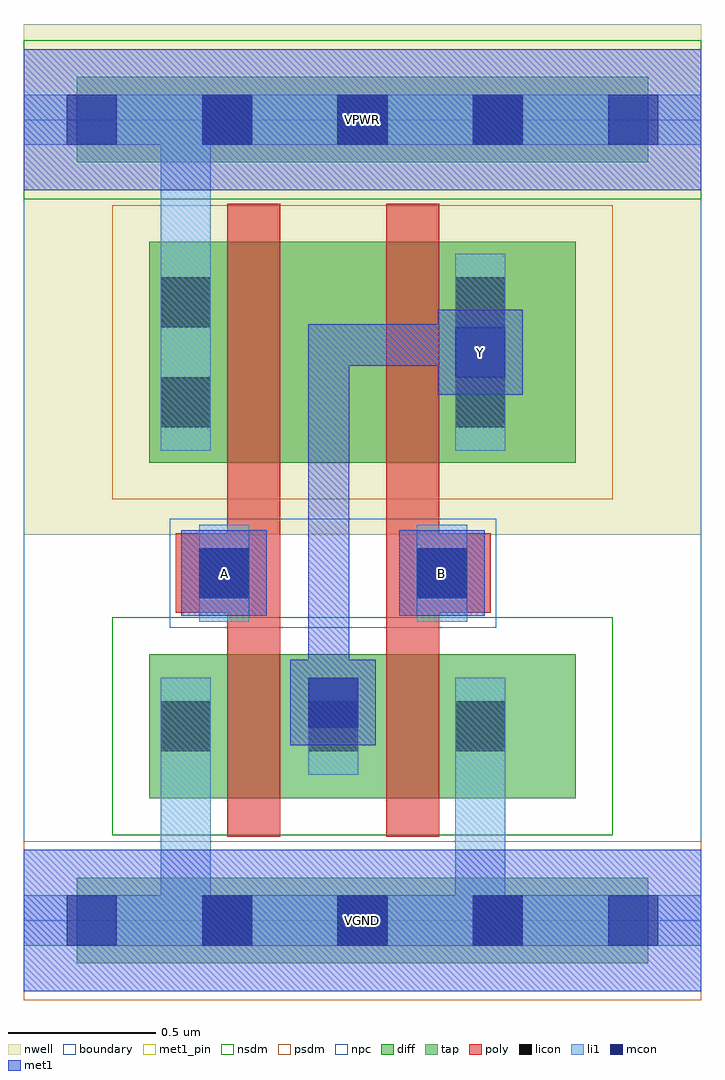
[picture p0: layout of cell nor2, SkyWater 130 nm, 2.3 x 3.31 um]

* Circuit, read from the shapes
.subckt nor2 A B VGND VPWR Y
XM1 Y A VGND VGND sky130_fd_pr__nfet_01v8 w=0.49 l=0.18
XM2 VGND B Y VGND sky130_fd_pr__nfet_01v8 w=0.49 l=0.18
XM3 n1 A VPWR VPWR sky130_fd_pr__pfet_01v8 w=0.75 l=0.18
XM4 Y B n1 VPWR sky130_fd_pr__pfet_01v8 w=0.75 l=0.18
.ends

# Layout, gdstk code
import gdstk
lib = gdstk.Library(unit=1e-6, precision=1e-09)
def R(c, l, rs):  # rectangles x0, y0, x1, y1
    for r in rs: c.add(gdstk.rectangle(r[:2], r[2:], *l))
def A(c, l, x, y, w, h, nx, ny, dx, dy):  # array of equal rectangles
    R(c, l, [(x+i*dx, y+j*dy, x+i*dx+w, y+j*dy+h) for i in range(nx) for j in range(ny)])
nwell = (64, 20)
diff = (65, 20)
tap = (65, 44)
poly = (66, 20)
licon = (66, 44)
li1 = (67, 20)
mcon = (67, 44)
met1_pin = (68, 16)
met1 = (68, 20)
nsdm = (93, 44)
psdm = (94, 20)
npc = (95, 20)
boundary = (235, 4)

nor2 = lib.new_cell('nor2')
R(nor2, nwell, [(0,1.31,2.3,3.045)])
R(nor2, diff, [(0.425,0.415,1.875,0.905), (0.425,1.555,1.875,2.305)])
R(nor2, tap, [(0.18,-0.145,2.12,0.145), (0.18,2.575,2.12,2.865)])
R(nor2, poly, [(0.69,0.285,0.87,2.435), (1.23,0.285,1.41,2.435), (0.515,1.045,0.845,1.315), (1.255,1.045,1.585,1.315)])
A(nor2, licon, 0.605, -0.085, 0.17, 0.17, 3, 2, 0.46, 2.72)
A(nor2, licon, 0.465, 0.575, 0.17, 0.17, 3, 1, 0.5, 0)
R(nor2, licon, [(0.595,1.095,0.765,1.265), (1.335,1.095,1.505,1.265), (0.465,1.675,0.635,1.845), (1.465,1.675,1.635,1.845), (0.465,2.015,0.635,2.185), (1.465,2.015,1.635,2.185)])
A(nor2, li1, 0.465, 0.495, 0.17, 0.33, 3, 1, 0.5, 0)
R(nor2, li1, [(0,-0.085,2.3,0.085), (0.465,-0.085,0.635,0.825), (1.465,-0.085,1.635,0.825), (0.595,1.015,0.765,1.345), (1.335,1.015,1.505,1.345), (0.465,1.595,0.635,2.265), (0.465,1.595,0.635,2.805), (1.465,1.595,1.635,2.265), (0,2.635,2.3,2.805)])
A(nor2, mcon, 0.145, -0.085, 0.17, 0.17, 5, 2, 0.46, 2.72)
R(nor2, mcon, [(0.965,0.655,1.135,0.825), (0.595,1.095,0.765,1.265), (1.335,1.095,1.505,1.265), (1.465,1.845,1.635,2.015)])
R(nor2, met1_pin, [(0,-0.24,2.3,0.24), (0.535,1.035,0.825,1.325), (1.275,1.035,1.565,1.325), (1.405,1.785,1.695,2.075), (0,2.48,2.3,2.96)])
R(nor2, met1, [(0,-0.24,2.3,0.24), (0.905,0.595,1.195,0.885), (0.965,0.67,1.12,0.81), (0.965,0.67,1.105,0.99), (0.965,0.85,1.105,2.025), (0.535,1.035,0.825,1.325), (1.275,1.035,1.565,1.325), (1.405,1.785,1.695,2.075), (0.965,1.885,1.565,2.025), (1.425,1.885,1.565,2.025), (0,2.48,2.3,2.96)])
R(nor2, nsdm, [(0.3,0.29,2,1.03), (0,2.45,2.3,2.99)])
R(nor2, psdm, [(0,-0.27,2.3,0.27), (0.3,1.43,2,2.43)])
R(nor2, npc, [(0.495,0.995,1.605,1.365)])
R(nor2, boundary, [(0,0,2.3,2.72)])
nor2.add(gdstk.Label('A', (0.68,1.18), layer=68, texttype=5))
nor2.add(gdstk.Label('B', (1.42,1.18), layer=68, texttype=5))
nor2.add(gdstk.Label('Y', (1.55,1.93), layer=68, texttype=5))
nor2.add(gdstk.Label('VPWR', (1.15,2.72), layer=68, texttype=5))
nor2.add(gdstk.Label('VGND', (1.15,0), layer=68, texttype=5))
nor2.add(gdstk.Label('A', (0.68,1.18), layer=68, texttype=16))
nor2.add(gdstk.Label('B', (1.42,1.18), layer=68, texttype=16))
nor2.add(gdstk.Label('Y', (1.55,1.93), layer=68, texttype=16))
nor2.add(gdstk.Label('VPWR', (1.15,2.72), layer=68, texttype=16))
nor2.add(gdstk.Label('VGND', (1.15,0), layer=68, texttype=16))

lib.write_gds('nor2.gds')
